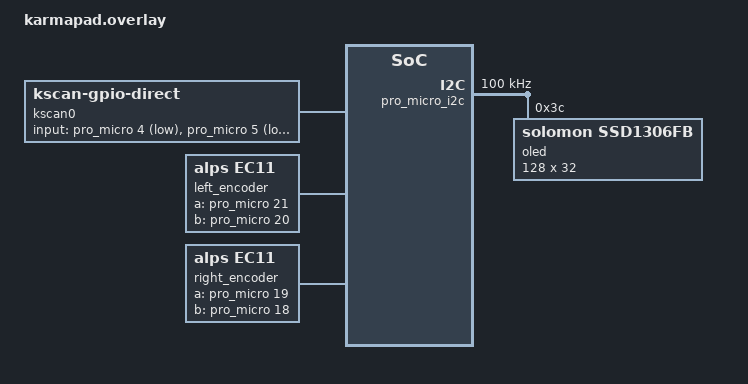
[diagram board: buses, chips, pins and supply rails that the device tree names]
/*
 * KarmaPad shield overlay (V1 — no LEDs)
 * "If humans made it, I can do it too."
 */

#include <dt-bindings/zmk/matrix_transform.h>
#include <zephyr/dt-bindings/i2c/i2c.h>

&pro_micro_i2c {
    status = "okay";
    clock-frequency = <I2C_BITRATE_STANDARD>;

    oled: ssd1306@3c {
        compatible = "solomon,ssd1306fb";
        reg = <0x3c>;
        width = <128>;
        height = <32>;
        segment-offset = <0>;
        page-offset = <0>;
        display-offset = <0>;
        multiplex-ratio = <31>;
        segment-remap;
        com-invdir;
        prechargep = <0x22>;
    };
};

/ {
    chosen {
        zephyr,display = &oled;
        zmk,kscan = &kscan0;
    };

    kscan0: kscan_direct {
        compatible = "zmk,kscan-gpio-direct";
        wakeup-source;
        input-gpios
            = <&pro_micro 4  (GPIO_ACTIVE_LOW | GPIO_PULL_UP)>
            , <&pro_micro 5  (GPIO_ACTIVE_LOW | GPIO_PULL_UP)>
            , <&pro_micro 6  (GPIO_ACTIVE_LOW | GPIO_PULL_UP)>
            , <&pro_micro 7  (GPIO_ACTIVE_LOW | GPIO_PULL_UP)>
            , <&pro_micro 8  (GPIO_ACTIVE_LOW | GPIO_PULL_UP)>
            , <&pro_micro 9  (GPIO_ACTIVE_LOW | GPIO_PULL_UP)>
            , <&pro_micro 10 (GPIO_ACTIVE_LOW | GPIO_PULL_UP)>
            , <&pro_micro 16 (GPIO_ACTIVE_LOW | GPIO_PULL_UP)>
            ;
    };

    left_encoder: left_encoder {
        compatible = "alps,ec11";
        a-gpios = <&pro_micro 21 (GPIO_ACTIVE_HIGH | GPIO_PULL_UP)>;
        b-gpios = <&pro_micro 20 (GPIO_ACTIVE_HIGH | GPIO_PULL_UP)>;
        steps = <80>;
        status = "okay";
    };

    right_encoder: right_encoder {
        compatible = "alps,ec11";
        a-gpios = <&pro_micro 19 (GPIO_ACTIVE_HIGH | GPIO_PULL_UP)>;
        b-gpios = <&pro_micro 18 (GPIO_ACTIVE_HIGH | GPIO_PULL_UP)>;
        steps = <80>;
        status = "okay";
    };

    sensors: sensors {
        compatible = "zmk,keymap-sensors";
        sensors = <&left_encoder &right_encoder>;
        triggers-per-rotation = <20>;
    };
};
